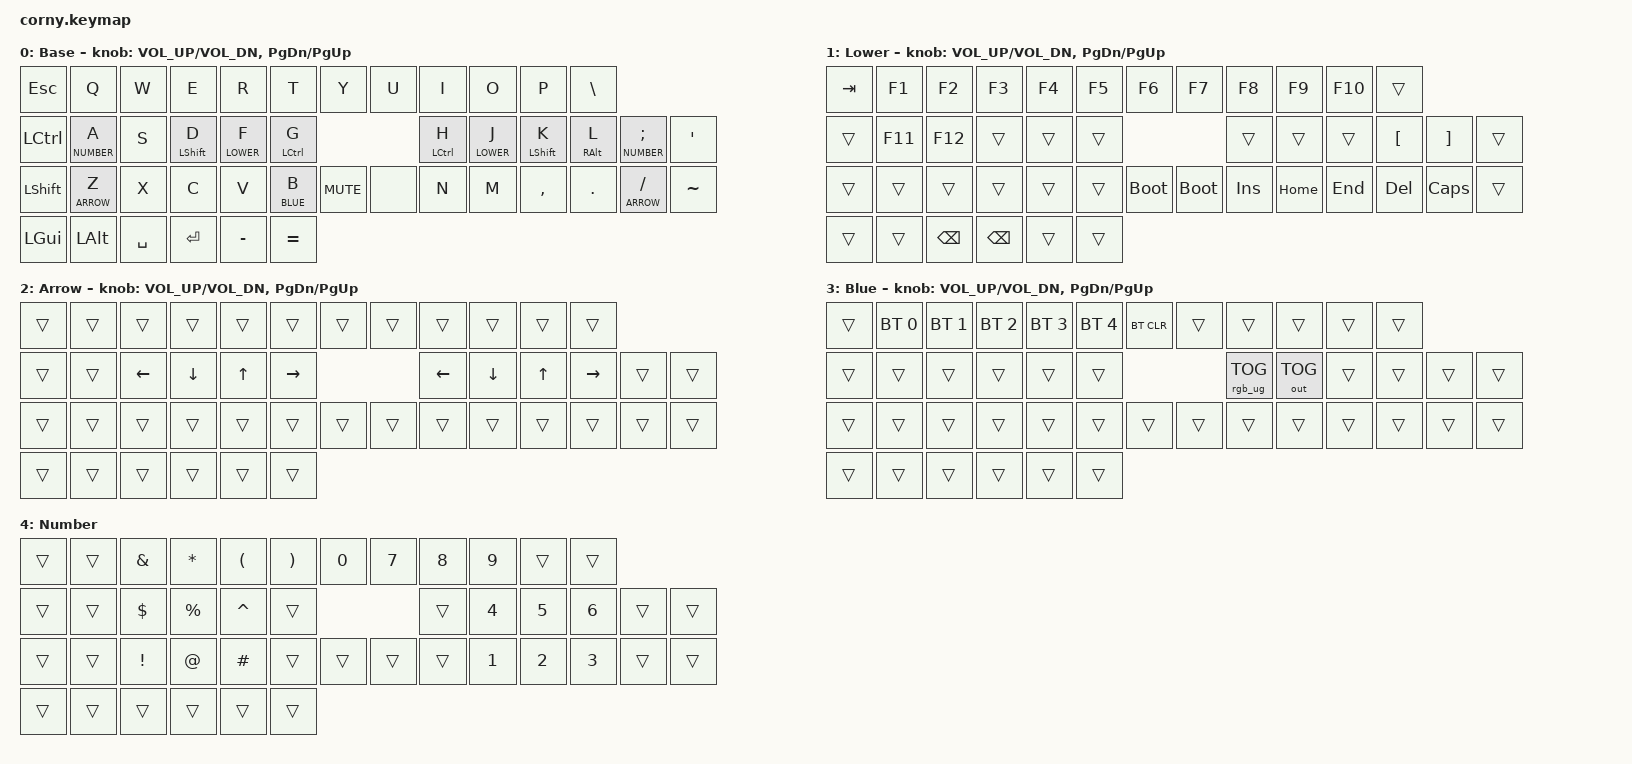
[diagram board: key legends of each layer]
/*
 * Copyright (c) 2020 The ZMK Contributors
 *
 * SPDX-License-Identifier: MIT
 */

#include <behaviors.dtsi>
#include <dt-bindings/zmk/bt.h>
#include <dt-bindings/zmk/keys.h>
#include <dt-bindings/zmk/outputs.h>
#include <dt-bindings/zmk/rgb.h>
#include <zmk-helpers/key-labels/42.h>  // replace with correct key-labels header

#define BASE 0
#define LOWER 1
#define ARROW 2
#define BLUE 3
#define NUMBER 4

#define KEYS_L LT5 LT4 LT3 LT2 LT1 LT0 LM5 LM4 LM3 LM2 LM1 LM0 LB5 LB4 LB3 LB2 LB1 LB0 // left-hand keys
#define KEYS_R RT0 RT1 RT2 RT3 RT4 RT5 RM0 RM1 RM2 RM3 RM4 RM5 RB0 RB1 RB2 RB3 RB4 RB5 // right-hand keys
#define THUMBS LH2 LH1 LH0 RH0 RH1 RH2 // thumb keys

/
  {

    hml: homerow_mods_left {
      compatible = "zmk,behavior-hold-tap";
      label = "HOMEROW_MODS_LEFT";
      #binding-cells = <2> ;
      bindings = <&kp>,<&kp> ;

      flavor = "balanced";
      tapping-term-ms = <280> ;
      quick-tap-ms = <175> ; // repeat on tap-into-hold
      // global-quick-tap-ms = <150>;         // requires PR #1387
      global-quick-tap;
      hold-trigger-key-positions = <KEYS_R THUMBS> ;
      hold-trigger-on-release;
    };

    hmr: homerow_mods_right {
      compatible = "zmk,behavior-hold-tap";
      label = "HOMEROW_MODS_RIGHT";
      #binding-cells = <2> ;
      bindings = <&kp>,<&kp> ;

      flavor = "balanced";
      tapping-term-ms = <280> ;
      // global-quick-tap-ms = <150>;         // requires PR #1387
      quick_tap_ms = <175> ;
      global-quick-tap;
      hold-trigger-key-positions = <KEYS_L THUMBS> ;
      hold-trigger-on-release;
    };

    keymap {
      compatible = "zmk,keymap";

      default_layer {
        display-name = "Base";
        bindings = <
          &kp ESC &kp Q &kp W &kp E &kp R &kp T &kp Y &kp U &kp I &kp O &kp P &kp BACKSLASH
          &kp LCTRL &lt NUMBER A &kp S &hml LSHIFT D &lt LOWER F &hml LCTRL G &hmr LCTRL H &lt LOWER J &hmr LSHIFT K &hml RALT L &lt NUMBER SEMI &kp SINGLE_QUOTE
          &kp LSHIFT &lt ARROW Z &kp X &kp C &kp V &lt BLUE B &kp C_MUTE &none &kp N &kp M &kp COMMA &kp DOT &lt ARROW FSLH &kp TILDE
          &kp LGUI &kp LALT &kp SPACE &kp RET &kp MINUS &kp EQUAL
		>;

        sensor-bindings = <&inc_dec_kp C_VOL_UP C_VOL_DN &inc_dec_kp PG_DN PG_UP>;
      };

      lower_layer {
        display-name = "Lower";
        bindings = <
          &kp TAB &kp F1 &kp F2 &kp F3 &kp F4 &kp F5 &kp F6 &kp F7 &kp F8 &kp F9 &kp F10 &trans
          &trans &kp F11 &kp F12 &trans &trans &trans &trans &trans &trans &kp LEFT_BRACKET &kp RIGHT_BRACKET &trans
          &trans &trans &trans &trans &trans &trans &bootloader &bootloader &kp INS &kp HOME &kp END &kp DEL &kp CAPSLOCK &trans
          &trans &trans &kp BACKSPACE &kp BACKSPACE &trans &trans
		>;
		
        sensor-bindings = <&inc_dec_kp C_VOL_UP C_VOL_DN &inc_dec_kp PG_DN PG_UP>;
      };

      arrow_layer {
        display-name = "Arrow";
        bindings = <
          &trans &trans &trans &trans &trans &trans &trans &trans &trans &trans &trans &trans
          &trans &trans &kp LEFT &kp DOWN &kp UP &kp RIGHT &kp LEFT &kp DOWN &kp UP &kp RIGHT &trans &trans
          &trans &trans &trans &trans &trans &trans &trans &trans &trans &trans &trans &trans &trans &trans
          &trans &trans &trans &trans &trans &trans
		>;

        sensor-bindings = <&inc_dec_kp C_VOL_UP C_VOL_DN &inc_dec_kp PG_DN PG_UP>;
      };

      bluetooth_layer {
        display-name = "Blue";
        bindings = <
          &trans &bt BT_SEL 0 &bt BT_SEL 1 &bt BT_SEL 2 &bt BT_SEL 3 &bt BT_SEL 4 &bt BT_CLR &trans &trans &trans &trans &trans
          &trans &trans &trans &trans &trans &trans &rgb_ug RGB_TOG &out OUT_TOG &trans &trans &trans &trans
          &trans &trans &trans &trans &trans &trans &trans &trans &trans &trans &trans &trans &trans &trans
          &trans &trans &trans &trans &trans &trans
		>;

        sensor-bindings = <&inc_dec_kp C_VOL_UP C_VOL_DN &inc_dec_kp PG_DN PG_UP>;
      };

      Numbers {
        display-name = "Number";
        bindings = <
		  &trans &trans &kp AMPS &kp STAR &kp LPAR &kp RPAR &kp NUMBER_0 &kp NUMBER_7 &kp NUMBER_8 &kp NUMBER_9 &trans &trans
		  &trans &trans &kp DLLR &kp PRCNT &kp CARET &trans &trans &kp NUMBER_4 &kp NUMBER_5 &kp NUMBER_6 &trans &trans
          &trans &trans &kp EXCL &kp AT &kp POUND &trans &trans &trans &trans &kp NUMBER_1 &kp NUMBER_2 &kp NUMBER_3 &trans &trans
          &trans &trans &trans &trans &trans &trans
		>;
      };
    };
};
